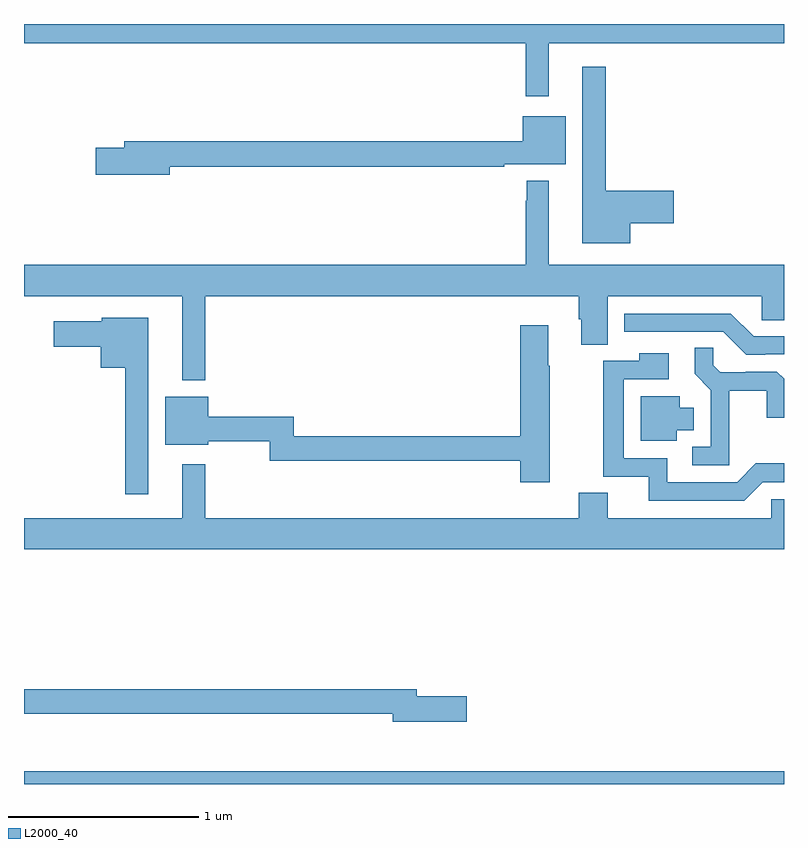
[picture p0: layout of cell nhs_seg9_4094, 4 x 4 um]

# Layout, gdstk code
import gdstk
lib = gdstk.Library(unit=1e-6, precision=1e-09)
def R(c, l, rs):  # rectangles x0, y0, x1, y1
    for r in rs: c.add(gdstk.rectangle(r[:2], r[2:], *l))
def P(c, l, *ps):  # polygons
    for p in ps: c.add(gdstk.Polygon(p, *l))
L2000_40 = (2000, 40)

nhs_seg9_4094 = lib.new_cell('nhs_seg9_4094')
R(nhs_seg9_4094, L2000_40, [(345,1212.5,349,1212.568)])
P(nhs_seg9_4094, L2000_40, [(347.761,1216.4),(349,1216.4),(349,1216.5),(345,1216.5),(345,1216.4),(347.64,1216.4),(347.64,1216.119),(347.761,1216.119)],
  [(348.19,1215.452),(348.421,1215.452),(348.421,1215.623),(348.061,1215.623),(348.061,1216.276),(347.939,1216.276),(347.939,1215.347),(348.19,1215.347)],
  [(345.766,1215.748),(347.528,1215.748),(347.528,1215.761),(347.851,1215.761),(347.851,1216.015),(347.624,1216.015),(347.624,1215.884),(345.527,1215.884),(345.527,1215.848),(345.378,1215.848),(345.378,1215.706),(345.766,1215.706)],
  [(345.955,1215.068),(347.921,1215.068),(347.921,1214.946),(347.933,1214.946),(347.933,1214.812),(348.073,1214.812),(348.073,1215.068),(348.882,1215.068),(348.882,1214.941),(349,1214.941),(349,1215.232),(347.761,1215.232),(347.761,1215.676),(347.646,1215.676),(347.646,1215.569),(347.64,1215.569),(347.64,1215.232),(345,1215.232),(345,1215.068),(345.833,1215.068),(345.833,1214.624),(345.955,1214.624)],
  [(348.902,1214.763),(349,1214.763),(349,1214.856),(348.84,1214.856),(348.72,1214.976),(348.158,1214.976),(348.158,1214.88),(348.681,1214.88),(348.801,1214.76),(348.902,1214.76)],
  [(345.655,1214.953),(345.408,1214.953),(345.408,1214.935),(345.156,1214.935),(345.156,1214.801),(345.404,1214.801),(345.404,1214.69),(345.534,1214.69),(345.534,1214.025),(345.655,1214.025)],
  [(347.766,1214.701),(347.758,1214.701),(347.758,1214.914),(347.612,1214.914),(347.612,1214.33),(346.421,1214.33),(346.421,1214.432),(345.97,1214.432),(345.97,1214.539),(345.743,1214.539),(345.743,1214.285),(345.97,1214.285),(345.97,1214.304),(346.293,1214.304),(346.293,1214.202),(347.612,1214.202),(347.612,1214.088),(347.766,1214.088)],
  [(348.713,1214.57),(348.91,1214.57),(348.91,1214.427),(349,1214.427),(349,1214.633),(348.963,1214.67),(348.798,1214.67),(348.798,1214.667),(348.664,1214.667),(348.627,1214.704),(348.627,1214.795),(348.529,1214.795),(348.529,1214.659),(348.615,1214.573),(348.615,1214.274),(348.516,1214.274),(348.516,1214.178),(348.713,1214.178)],
  [(348.888,1214.088),(349,1214.088),(349,1214.187),(348.852,1214.187),(348.753,1214.088),(348.385,1214.088),(348.385,1214.214),(348.156,1214.214),(348.156,1214.631),(348.394,1214.631),(348.394,1214.767),(348.238,1214.767),(348.238,1214.727),(348.048,1214.727),(348.048,1214.118),(348.287,1214.118),(348.287,1213.992),(348.792,1213.992)],
  [(348.436,1214.363),(348.526,1214.363),(348.526,1214.479),(348.451,1214.479),(348.451,1214.542),(348.245,1214.542),(348.245,1214.306),(348.436,1214.306)],
  [(349,1213.998),(348.933,1213.998),(348.933,1213.9),(348.073,1213.9),(348.073,1214.033),(347.921,1214.033),(347.921,1213.9),(345.955,1213.9),(345.955,1214.182),(345.833,1214.182),(345.833,1213.9),(345,1213.9),(345,1213.736),(349,1213.736)],
  [(347.329,1212.962),(347.068,1212.962),(347.068,1212.998),(345,1212.998),(345,1212.87),(346.94,1212.87),(346.94,1212.827),(347.329,1212.827)])

lib.write_gds('nhs_seg9_4094.gds')
